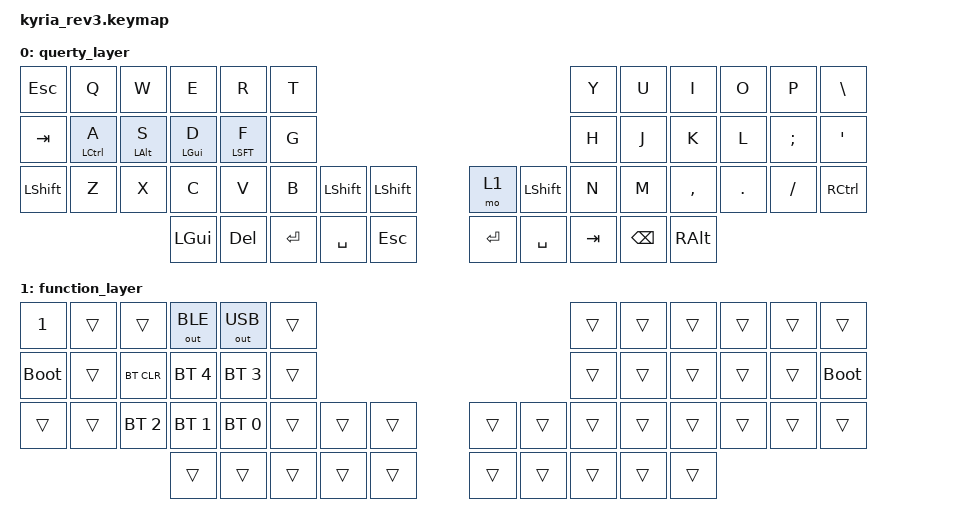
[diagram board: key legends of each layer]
/*
 * Copyright (c) 2023 The ZMK Contributors
 *
 * SPDX-License-Identifier: MIT
 */

#include <behaviors.dtsi>
#include <dt-bindings/zmk/bt.h>
#include <dt-bindings/zmk/keys.h>
#include <dt-bindings/zmk/outputs.h>

#define _COLEMAK 0
#define _QWERTY 1

/* Uncomment this block if using RGB
&led_strip {
    chain-length = <6>;
    // chain-length = <31>; // Uncomment if using both per-key and underglow LEDs
    // chain-length = <25>; // Uncomment if using only per-key LEDs.
};
 */

/ {
    keymap {
        compatible = "zmk,keymap";

        querty_layer {
            // ---------------------------------------------------------------------------------------------------------------------------------
            // |  ESC  |  Q  |  W  |  E   |  R   |  T   |                                          |  Y   |  U    |  I    |  O   |   P   |   \  |
            // |  TAB  |  A  |  S  |  D   |  F   |  G   |                                          |  H   |  J    |  K    |  L   |   ;   |   '  |
            // | SHIFT |  Z  |  X  |  C   |  V   |  B   | L SHIFT | L SHIFT |  | LAYER 1 | L SHIFT |  N   |  M    |  ,    |  .   |   /   | CTRL |
            //                     | GUI  | DEL  | RET  |  SPACE  |   ESC   |  |   RET   |  SPACE  | TAB  | BSPC  | R-ALT |
            bindings = <
            &kp ESC   &kp Q &kp W &kp E &kp R &kp T                                                  &kp Y &kp U  &kp I     &kp O   &kp P    &kp BSLH
            &kp TAB   &lhp LCTL A &lhp LALT S &lhp LGUI D &lhp LSFT F &kp G                          &kp H &kp J  &kp K     &kp L   &kp SEMI &kp SQT
            &kp LSHFT &kp Z &kp X &kp C &kp V &kp B &kp LSHFT &kp LSHFT            &mo 1   &kp LSHFT &kp N &kp M  &kp COMMA &kp DOT &kp FSLH &kp RCTRL
                                  &kp LGUI &kp DEL &kp RET &kp SPACE &kp ESC       &kp RET &kp SPACE &kp TAB &kp BSPC &kp RALT
            >;
        };

        function_layer {
            // ---------------------------------------------------------------------------------------------------------------------------------
            // |       |      |BT_CLR|BTSEL0|BTSEL1|BTSEL2|                                         |      |      |      |      |      |      |
            // |       |      |      |BTSEL3|BTSEL4|      |                                         |      |      |      |      |      |      |
            // |       |      |      |      |      |      |      |      |      |      |      |      |      |      |      |      |      |      |
            //                       |      |      |      |      |      |      |      |      |      |      |      |      |
            bindings = <
            &kp N1      &trans &trans       &out OUT_BLE &out OUT_USB &trans                                    &trans &trans &trans &trans &trans &trans
            &bootloader &trans &bt BT_CLR   &bt BT_SEL 4 &bt BT_SEL 3 &trans                                    &trans &trans &trans &trans &trans &bootloader
            &trans      &trans &bt BT_SEL 2 &bt BT_SEL 1 &bt BT_SEL 0 &trans &trans &trans        &trans &trans &trans &trans &trans &trans &trans &trans
                                                        &trans &trans &trans &trans &trans        &trans &trans &trans &trans &trans
            >;
        };
    };

    behaviors {
        lhp: positional_hold_tap {
            compatible = "zmk,behavior-hold-tap";
            label = "LEFT_POSITIONAL_HOLD_TAP";
            #binding-cells = <2>;
            flavor = "tap-unless-interrupted";
            tapping-term-ms = <100>;
            quick-tap-ms = <200>;
            bindings = <&kp>, <&kp>;
            hold-trigger-key-positions = <
                      6  7  8  9  10 11
                      18 19 20 21 22 23
                32 33 34 35 36 37 38 39
                45 46 47 48 49
            >;    // <---[[the W key]]
            hold-trigger-on-release;
        };

        rhp: positional_hold_tap {
            compatible = "zmk,behavior-hold-tap";
            label = "RIGHT_POSITIONAL_HOLD_TAP";
            #binding-cells = <2>;
            flavor = "tap-unless-interrupted";
            tapping-term-ms = <100>;
            quick-tap-ms = <200>;
            bindings = <&kp>, <&kp>;
            hold-trigger-key-positions = <
                0  1  2  3  4  5
                12 13 14 15 16 17
                24 25 26 27 28 29 30 31
                         40 41 42 43 44
            >;    // <---[[the W key]]
            hold-trigger-on-release;
        };
    }
};
